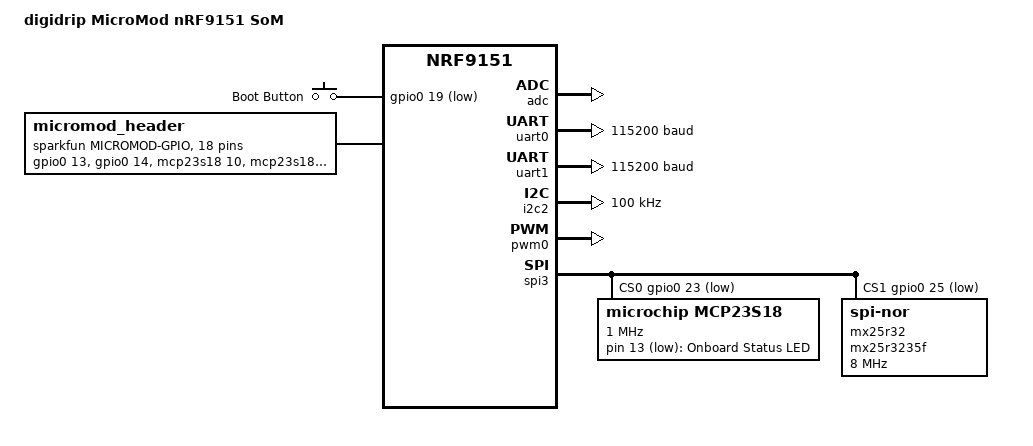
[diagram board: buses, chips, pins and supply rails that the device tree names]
/*
 * Copyright (c) 2026 Christian Hirsch
 *
 * SPDX-License-Identifier: Apache-2.0
 */
#include "micromod9151_nrf9151_common-pinctrl.dtsi"
#include <zephyr/dt-bindings/input/input-event-codes.h>

/ {
	model = "digidrip MicroMod nRF9151 SoM";
	compatible = "digidrip,micromod9151-nrf9151";

	chosen {
		zephyr,console = &uart0;
		zephyr,shell-uart = &uart0;
		zephyr,uart-mcumgr = &uart0;
	};

	gpios {
		compatible = "gpio-leds";

		led_status: led_status {
			gpios = <&mcp23s18 13 (GPIO_OPEN_DRAIN | GPIO_ACTIVE_LOW)>;
			label = "Onboard Status LED";
		};
	};

	buttons {
		compatible = "gpio-keys";

		boot_button: boot_button {
			gpios = <&gpio0 19 (GPIO_PULL_UP | GPIO_ACTIVE_LOW)>;
			label = "Boot Button";
		};
	};

	micromod_header: connector {
		compatible = "sparkfun,micromod-gpio";
		#gpio-cells = <2>;
		gpio-map-mask = <0xffffffff 0xffffffc0>;
		gpio-map-pass-thru = <0 0x3f>;
		gpio-map = <0 0 &gpio0 13 0>,	/* A0 */
		<1 0 &gpio0 14 0>,	/* A1 */
		<2 0 &mcp23s18 10 0>,	/* D0 */
		<3 0 &mcp23s18 11 0>,	/* D1/CAM_TRIG */
		<4 0 &gpio0 10 0>,	/* I2C_INT# */
		<5 0 &gpio0 17 0>,	/* G0/BUS0 */
		<6 0 &gpio0 18 0>,	/* G1/BUS1 */
		<7 0 &mcp23s18 0 0>,	/* G2/BUS2 */
		<8 0 &mcp23s18 1 0>,	/* G3/BUS3 */
		<9 0 &mcp23s18 2 0>,	/* G4/BUS4 */
		<10 0 &mcp23s18 3 0>,	/* G5/BUS5 */
		<11 0 &mcp23s18 4 0>,	/* G6/BUS6 */
		<12 0 &mcp23s18 5 0>,	/* G7/BUS7 */
		<13 0 &mcp23s18 6 0>,	/* G8 */
		<14 0 &mcp23s18 7 0>,	/* G9/ADC_D-/CAM_HSYNC */
		<15 0 &mcp23s18 8 0>,	/* G10/ADC_D+/CAM_VSYNC */
		<16 0 &mcp23s18 9 0>,	/* G11/SWO */
		<17 0 &gpio0 2 0>;	/* SPI_CS */
	};

	/* These aliases are provided for compatibility with samples */
	aliases {
		led0 = &led_status;
		watchdog0 = &wdt0;
		/*vspi-flash0 = &mx25r64; */
	};
};

&adc {
	status = "okay";
};

&gpiote {
	status = "okay";
};

&gpio0 {
	status = "okay";
};

&uart0 {
	status = "okay";
	current-speed = <115200>;
	pinctrl-0 = <&uart0_default>;
	pinctrl-1 = <&uart0_sleep>;
	pinctrl-names = "default", "sleep";
};

&uart1 {
	status = "okay";
	current-speed = <115200>;
	pinctrl-0 = <&uart1_default>;
	pinctrl-1 = <&uart1_sleep>;
	pinctrl-names = "default", "sleep";
};

&i2c2 {
	compatible = "nordic,nrf-twim";
	status = "okay";
	pinctrl-0 = <&i2c2_default>;
	pinctrl-1 = <&i2c2_sleep>;
	pinctrl-names = "default", "sleep";
	clock-frequency = <I2C_BITRATE_STANDARD>;
};

&pwm0 {
	status = "okay";
	pinctrl-0 = <&pwm0_default>;
	pinctrl-1 = <&pwm0_sleep>;
	pinctrl-names = "default", "sleep";
};

&spi3 {
	compatible = "nordic,nrf-spim";
	status = "okay";
	pinctrl-0 = <&spi3_default>;
	pinctrl-1 = <&spi3_sleep>;
	pinctrl-names = "default", "sleep";

	cs-gpios = <&gpio0 23 (GPIO_ACTIVE_LOW)>, <&gpio0 25 GPIO_ACTIVE_LOW>;

	mcp23s18: mcp23s18@0 {
		status = "okay";
		//compatible = "microchip,mcp23sxx";
		compatible = "microchip,mcp23s18";
		spi-max-frequency = <1000000>;
		reg = <0>;
		gpio-controller;
		#gpio-cells = <2>;
		ngpios = <16>;
	};

	/*
	mx25r64: mx25r6435f@1 {
		compatible = "jedec,spi-nor";
		status = "disabled";
		reg = <1>;
		spi-max-frequency = <8000000>;
		jedec-id = [c2 28 17];
		sfdp-bfp = [
		e5 20 f1 ff  ff ff ff 03  44 eb 08 6b  08 3b 04 bb
		ee ff ff ff  ff ff 00 ff  ff ff 00 ff  0c 20 0f 52
		10 d8 00 ff  23 72 f5 00  82 ed 04 cc  44 83 48 44
		30 b0 30 b0  f7 c4 d5 5c  00 be 29 ff  f0 d0 ff ff
		];
		size = <67108864>;
		has-dpd;
		t-enter-dpd = <10000>;
		t-exit-dpd = <35000>;
	};
	*/
	mx25r32: mx25r3235f@1 {
		compatible = "jedec,spi-nor";
		status = "okay";
		reg = <1>;
		spi-max-frequency = <8000000>;
		jedec-id = [c2 28 16];
		size = <33554432>;
		has-dpd;
		t-enter-dpd = <10000>;
		t-exit-dpd = <35000>;
		mxicy,mx25r-power-mode = "low-power";
	};
};

&flash0 {
	partitions {
		compatible = "fixed-partitions";
		#address-cells = <1>;
		#size-cells = <1>;

		boot_partition: partition@0 {
			label = "mcuboot";
			reg = <0x00000000 0x10000>;
		};
		slot0_partition: partition@10000 {
			label = "image-0";
		};
		slot0_ns_partition: partition@50000 {
			label = "image-0-nonsecure";
		};
		slot1_partition: partition@85000 {
			label = "image-1";
		};
		slot1_ns_partition: partition@c5000 {
			label = "image-1-nonsecure";
		};
		storage_partition: partition@fa000 {
			label = "storage";
			reg = <0x000fa000 0x00006000>;
		};
	};
};

/ {

	reserved-memory {
		#address-cells = <1>;
		#size-cells = <1>;
		ranges;

		sram0_s: image_s@20000000 {
			/* Secure image memory */
		};

		sram0_modem: image_modem@20016000 {
			/* Modem (shared) memory */
		};

		sram0_ns: image_ns@20020000 {
			/* Non-Secure image memory */
		};
	};
};

micromod_1_uart: &uart0 {};

micromod_2_uart: &uart1 {};

micromod_0_i2c: &i2c2 {};

/* micromod_1_i2c: &i2c1 {}; */

micromod_0_spi: &spi3 {};

/* Include partition configuration file */
#include "micromod9151_nrf9151_partition_conf.dtsi"
